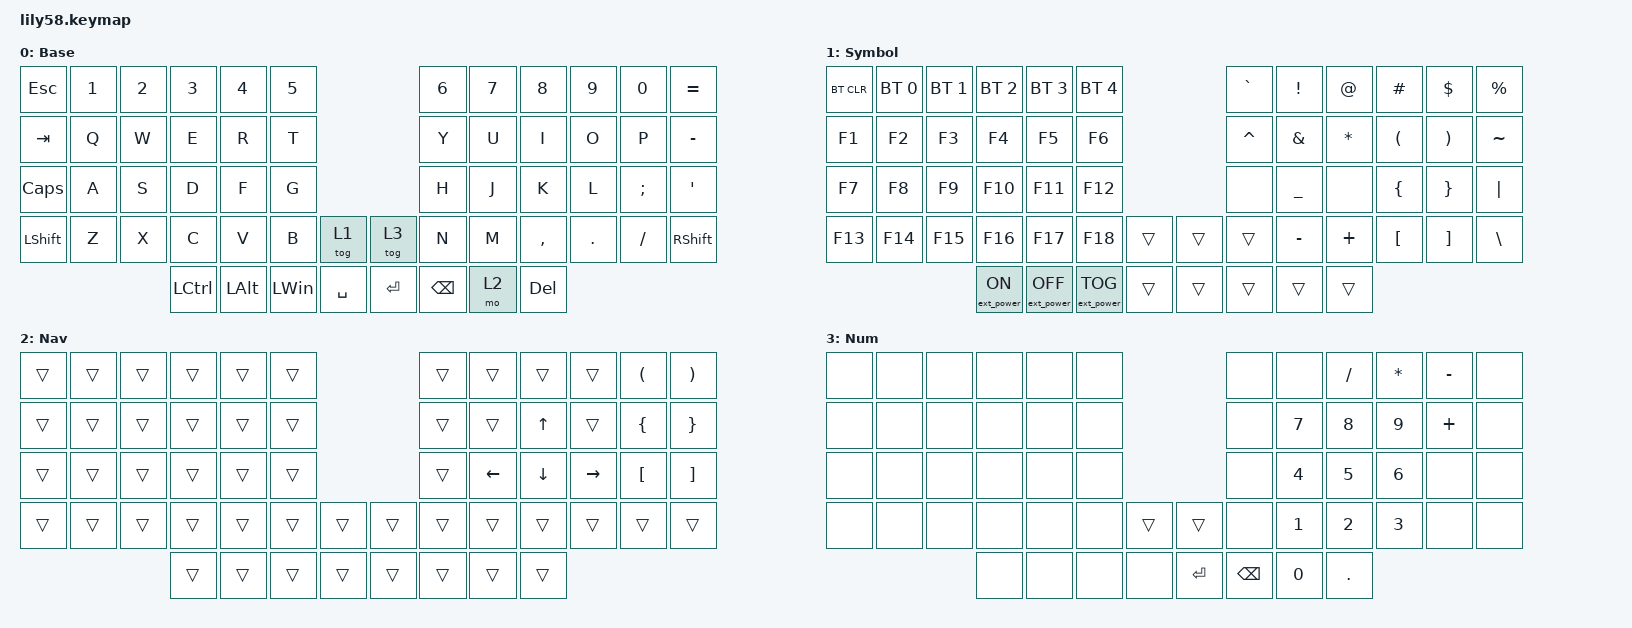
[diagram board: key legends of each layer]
/*
 * Copyright (c) 2020 The ZMK Contributors
 *
 * SPDX-License-Identifier: MIT
 */

#include <behaviors.dtsi>
#include <dt-bindings/zmk/bt.h>
#include <dt-bindings/zmk/ext_power.h>
#include <dt-bindings/zmk/keys.h>

/ {
    keymap {
        compatible = "zmk,keymap";

        default_layer {
            // ------------------------------------------------------------------------------------------------------------
            // |  ESC   |  1  |  2  |  3   |  4   |  5   |                   |  6   |  7    |  8    |  9   |   0   |  =/+  |
            // |  TAB   |  Q  |  W  |  E   |  R   |  T   |                   |  Y   |  U    |  I    |  O   |   P   |   -   |
            // | CAPS   |  A  |  S  |  D   |  F   |  G   |                   |  H   |  J    |  K    |  L   |   ;   |   '   |
            // | LSHIFT |  Z  |  X  |  C   |  V   |  B   |  LLay  |  | ULay  |  N   |  M    |  ,    |  .   |   /   | RSHIFT|
            //                      | LCTRL| LALT | LWIN |  SPACE |  | ENTER | Bksp |ULayMo |  Del  |

            display-name = "Base";
            bindings = <
&kp ESC     &kp N1  &kp N2  &kp N3     &kp N4        &kp N5                                &kp N6    &kp N7  &kp N8      &kp N9   &kp N0    &kp EQUAL
&kp TAB     &kp Q   &kp W   &kp E      &kp R         &kp T                                 &kp Y     &kp U   &kp I       &kp O    &kp P     &kp MINUS
&kp CAPS    &kp A   &kp S   &kp D      &kp F         &kp G                                 &kp H     &kp J   &kp K       &kp L    &kp SEMI  &kp SQT
&kp LSHIFT  &kp Z   &kp X   &kp C      &kp V         &kp B         &tog 1       &tog 3     &kp N     &kp M   &kp COMMA   &kp DOT  &kp FSLH  &kp RSHFT
                            &kp LCTRL  &kp LEFT_ALT  &kp LEFT_WIN  &kp SPACE    &kp ENTER  &kp BSPC  &mo 2   &kp DELETE
            >;
        };

        Symbol {
            // ------------------------------------------------------------------------------------------------------------
            // | BTCLR | BT1 | BT2 |  BT3 |  BT4 |  BT5 |                   |   `  |  !    |  @    |  #   |  $    |  %    |
            // |  F1   | F2  | F3  |  F4  |  F5  |  F6  |                   |  ^   |  &    |  *    |  (   |   )   |   ~   |
            // |  F7   | F8  | F9  |  F10 |  F11 |  F12 |                   |      |   _   |       |  {   |   }   |  "|"  |
            // |  F13  | F14 | F15 |  F16 |  F17 |  F18 |        |  |       |  +   |   -   |   =   |  [   |   ]   |   \   |
            //                     |      |      |      |        |  |       |      |       |       |

            display-name = "Symbol";
            bindings = <
&bt BT_CLR  &bt BT_SEL 0  &bt BT_SEL 1  &bt BT_SEL 2      &bt BT_SEL 3       &bt BT_SEL 4                         &kp GRAVE  &kp EXCL   &kp AT     &kp HASH  &kp DOLLAR  &kp PRCNT
&kp F1      &kp F2        &kp F3        &kp F4            &kp F5             &kp F6                               &kp CARET  &kp AMPS   &kp ASTRK  &kp LPAR  &kp RPAR    &kp TILDE
&kp F7      &kp F8        &kp F9        &kp F10           &kp F11            &kp F12                              &none      &kp UNDER  &none      &kp LBRC  &kp RBRC    &kp PIPE
&kp F13     &kp F14       &kp F15       &kp F16           &kp F17            &kp F18            &trans    &trans  &trans     &kp MINUS  &kp PLUS   &kp LBKT  &kp RBKT    &kp BSLH
                                        &ext_power EP_ON  &ext_power EP_OFF  &ext_power EP_TOG  &trans    &trans  &trans     &trans     &trans
            >;
        };

        Nav {
            // ------------------------------------------------------------------------------------------------------------
            // |       |     |     |      |      |      |                   |      |       |       |      |  (    |   )   |
            // |       |     |     |      |      |      |                   |      |       |   ^   |      |  {    |   }   |
            // |       |     |     |      |      |      |                   |      |   <-  |   v   |  ->  |  [    |   ]   |
            // |       |     |     |      |      |      |        |  |       |      |       |       |      |       |       |
            //                     |      |      |      |        |  |       |      |       |       |

            display-name = "Nav";
            bindings = <
&trans  &trans  &trans  &trans  &trans  &trans                    &trans  &trans    &trans        &trans     &kp LPAR  &kp RPAR
&trans  &trans  &trans  &trans  &trans  &trans                    &trans  &trans    &kp UP_ARROW  &trans     &kp LBRC  &kp RBRC
&trans  &trans  &trans  &trans  &trans  &trans                    &trans  &kp LEFT  &kp DOWN      &kp RIGHT  &kp LBKT  &kp RBKT
&trans  &trans  &trans  &trans  &trans  &trans  &trans    &trans  &trans  &trans    &trans        &trans     &trans    &trans
                        &trans  &trans  &trans  &trans    &trans  &trans  &trans    &trans
            >;
        };

        Numpad {
            bindings = <
&none  &none  &none  &none  &none  &none                       &none          &none   &kp SLASH  &kp ASTERISK  &kp MINUS  &none
&none  &none  &none  &none  &none  &none                       &none          &kp N7  &kp N8     &kp N9        &kp PLUS   &none
&none  &none  &none  &none  &none  &none                       &none          &kp N4  &kp N5     &kp N6        &none      &none
&none  &none  &none  &none  &none  &none  &trans    &trans     &none          &kp N1  &kp N2     &kp N3        &none      &none
                     &none  &none  &none  &none     &kp ENTER  &kp BACKSPACE  &kp N0  &kp DOT
            >;

            label = "Num";
        };
    };
};
